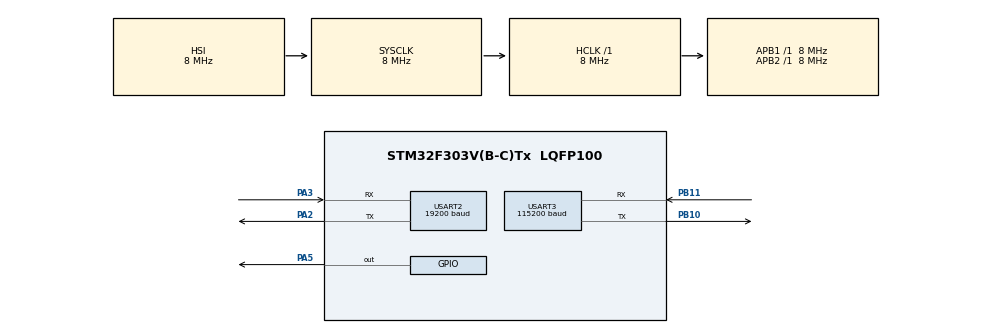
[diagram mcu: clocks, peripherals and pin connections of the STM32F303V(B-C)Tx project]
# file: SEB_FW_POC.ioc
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Dma.Request0=USART2_RX
Dma.USART2_RX.0.Direction=DMA_PERIPH_TO_MEMORY
Dma.USART2_RX.0.Instance=DMA1_Channel6
Dma.USART2_RX.0.MemDataAlignment=DMA_MDATAALIGN_BYTE
Dma.USART2_RX.0.MemInc=DMA_MINC_ENABLE
Dma.USART2_RX.0.Mode=DMA_CIRCULAR
Dma.USART2_RX.0.PeriphDataAlignment=DMA_PDATAALIGN_BYTE
Dma.USART2_RX.0.PeriphInc=DMA_PINC_DISABLE
Dma.USART2_RX.0.Priority=DMA_PRIORITY_LOW
Mcu.Family=STM32F3
Mcu.Name=STM32F303V(B-C)Tx
Mcu.Package=LQFP100
NVIC.DMA1_Channel6_IRQn=true\:0\:0\:false\:false\:true\:false\:true\:true
NVIC.PriorityGroup=NVIC_PRIORITYGROUP_4
NVIC.USART2_IRQn=true\:0\:0\:false\:false\:true\:true\:true\:true
NVIC.USART3_IRQn=true\:0\:0\:false\:false\:true\:true\:true\:true
PA2.Mode=Asynchronous
PA2.Signal=USART2_TX
PA3.Mode=Asynchronous
PA3.Signal=USART2_RX
PA5.Signal=GPIO_Output
PB10.Mode=Asynchronous
PB10.Signal=USART3_TX
PB11.Mode=Asynchronous
PB11.Signal=USART3_RX
ProjectManager.HeapSize=0x200
ProjectManager.StackSize=0x400
ProjectManager.TargetToolchain=STM32CubeIDE
RCC.AHBFreq_Value=8000000
RCC.APB1Freq_Value=8000000
RCC.APB2Freq_Value=8000000
RCC.CortexFreq_Value=8000000
RCC.HSE_VALUE=8000000
RCC.HSI_VALUE=8000000
RCC.LSE_VALUE=32768
RCC.SYSCLKFreq_VALUE=8000000
USART2.BaudRate=19200
USART2.VirtualMode-Asynchronous=VM_ASYNC
USART3.BaudRate=115200
USART3.VirtualMode-Asynchronous=VM_ASYNC
board=custom

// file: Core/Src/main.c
/* USER CODE BEGIN Header */
/**
  ******************************************************************************
  * @file           : main.c
  * @brief          : Main program body
  ******************************************************************************
  * @attention
  *
  * Copyright (c) 2026 STMicroelectronics.
  * All rights reserved.
  *
  * This software is licensed under terms that can be found in the LICENSE file
  * in the root directory of this software component.
  * If no LICENSE file comes with this software, it is provided AS-IS.
  *
  ******************************************************************************
  */
/* USER CODE END Header */
#include "main.h"

/* USER CODE BEGIN Includes */
#include "error_manager.h"
#include "local_uart_manager.h"
#include "logger.h"
#include "packet_manager.h"
#include "timer_manager.h"
/* USER CODE END Includes */

/* USER CODE BEGIN PD */
/* Fixed SEB address until the GPIO Manager reads the DIP switches. */
#define SEB_PM_LOCAL_ADDRESS    1U
/* Fixed board mode until the GPIO Manager reads the mode-select pin. */
#define SEB_LU_MODE             BOARD_MODE_MAIN
/* USER CODE END PD */

UART_HandleTypeDef huart2;
UART_HandleTypeDef huart3;
DMA_HandleTypeDef hdma_usart2_rx;

void SystemClock_Config(void);
static void MX_GPIO_Init(void);
static void MX_DMA_Init(void);
static void MX_USART3_UART_Init(void);
static void MX_USART2_UART_Init(void);

int main(void)
{

  /* MCU Configuration--------------------------------------------------------*/

  /* Reset of all peripherals, Initializes the Flash interface and the Systick. */
  HAL_Init();

  /* Configure the system clock */
  SystemClock_Config();

  /* Initialize all configured peripherals */
  MX_GPIO_Init();
  MX_DMA_Init();
  MX_USART3_UART_Init();
  MX_USART2_UART_Init();
  /* USER CODE BEGIN 2 */
  /* Service init order per architecture section 2.4: Error Manager,
   * Logger, then Timer Manager. */
  (void)ErrorManager_Init();

  if (Logger_Init() != STATUS_OK)
  {
    ErrorManager_Report(SEB_ERROR_SYSTEM_LOGGER_INIT);
  }

  if (TimerManager_Init() != STATUS_OK)
  {
    Error_Handler();
  }

  if (PacketManager_Init(SEB_PM_LOCAL_ADDRESS) != STATUS_OK)
  {
    Error_Handler();
  }

  /* A failed start is retried by the module's own recovery (section 3.2). */
  (void)LocalUARTManager_Init(SEB_LU_MODE, SEB_PM_LOCAL_ADDRESS);

  LOG_INFO("SEB F3 boot");
  /* USER CODE END 2 */

  /* Infinite loop */
  while (1)
  {

    /* USER CODE BEGIN 3 */
    /* Timer state is updated first in every loop iteration (section 2.5). */
    TimerManager_Process();

    /* Local device data is moved before errors and logs are handled (2.5). */
    LocalUARTManager_Run();

    /* Errors reported in this iteration are handled before logging (2.5). */
    ErrorManager_Process();

    /* Logger drains its transmit ring without blocking. */
    Logger_Process();
  }
  /* USER CODE END 3 */
}

void SystemClock_Config(void)
{
  RCC_OscInitTypeDef RCC_OscInitStruct = {0};
  RCC_ClkInitTypeDef RCC_ClkInitStruct = {0};
  RCC_PeriphCLKInitTypeDef PeriphClkInit = {0};

  /** Initializes the RCC Oscillators according to the specified parameters
  * in the RCC_OscInitTypeDef structure.
  */
  RCC_OscInitStruct.OscillatorType = RCC_OSCILLATORTYPE_HSI;
  RCC_OscInitStruct.HSIState = RCC_HSI_ON;
  RCC_OscInitStruct.HSICalibrationValue = RCC_HSICALIBRATION_DEFAULT;
  RCC_OscInitStruct.PLL.PLLState = RCC_PLL_NONE;
  if (HAL_RCC_OscConfig(&RCC_OscInitStruct) != HAL_OK)
  {
    Error_Handler();
  }

  /** Initializes the CPU, AHB and APB buses clocks
  */
  RCC_ClkInitStruct.ClockType = RCC_CLOCKTYPE_HCLK|RCC_CLOCKTYPE_SYSCLK
                              |RCC_CLOCKTYPE_PCLK1|RCC_CLOCKTYPE_PCLK2;
  RCC_ClkInitStruct.SYSCLKSource = RCC_SYSCLKSOURCE_HSI;
  RCC_ClkInitStruct.AHBCLKDivider = RCC_SYSCLK_DIV1;
  RCC_ClkInitStruct.APB1CLKDivider = RCC_HCLK_DIV1;
  RCC_ClkInitStruct.APB2CLKDivider = RCC_HCLK_DIV1;

  if (HAL_RCC_ClockConfig(&RCC_ClkInitStruct, FLASH_LATENCY_0) != HAL_OK)
  {
    Error_Handler();
  }
  PeriphClkInit.PeriphClockSelection = RCC_PERIPHCLK_USART2|RCC_PERIPHCLK_USART3;
  PeriphClkInit.Usart2ClockSelection = RCC_USART2CLKSOURCE_PCLK1;
  PeriphClkInit.Usart3ClockSelection = RCC_USART3CLKSOURCE_PCLK1;
  if (HAL_RCCEx_PeriphCLKConfig(&PeriphClkInit) != HAL_OK)
  {
    Error_Handler();
  }
}

static void MX_USART2_UART_Init(void)
{

  huart2.Instance = USART2;
  huart2.Init.BaudRate = 19200;
  huart2.Init.WordLength = UART_WORDLENGTH_8B;
  huart2.Init.StopBits = UART_STOPBITS_1;
  huart2.Init.Parity = UART_PARITY_NONE;
  huart2.Init.Mode = UART_MODE_TX_RX;
  huart2.Init.HwFlowCtl = UART_HWCONTROL_NONE;
  huart2.Init.OverSampling = UART_OVERSAMPLING_16;
  huart2.Init.OneBitSampling = UART_ONE_BIT_SAMPLE_DISABLE;
  huart2.AdvancedInit.AdvFeatureInit = UART_ADVFEATURE_NO_INIT;
  if (HAL_UART_Init(&huart2) != HAL_OK)
  {
    Error_Handler();
  }

}

static void MX_USART3_UART_Init(void)
{

  huart3.Instance = USART3;
  huart3.Init.BaudRate = 115200;
  huart3.Init.WordLength = UART_WORDLENGTH_8B;
  huart3.Init.StopBits = UART_STOPBITS_1;
  huart3.Init.Parity = UART_PARITY_NONE;
  huart3.Init.Mode = UART_MODE_TX_RX;
  huart3.Init.HwFlowCtl = UART_HWCONTROL_NONE;
  huart3.Init.OverSampling = UART_OVERSAMPLING_16;
  huart3.Init.OneBitSampling = UART_ONE_BIT_SAMPLE_DISABLE;
  huart3.AdvancedInit.AdvFeatureInit = UART_ADVFEATURE_NO_INIT;
  if (HAL_UART_Init(&huart3) != HAL_OK)
  {
    Error_Handler();
  }

}

static void MX_DMA_Init(void)
{

  /* DMA controller clock enable */
  __HAL_RCC_DMA1_CLK_ENABLE();

  /* DMA interrupt init */
  /* DMA1_Channel6_IRQn interrupt configuration */
  HAL_NVIC_SetPriority(DMA1_Channel6_IRQn, 0, 0);
  HAL_NVIC_EnableIRQ(DMA1_Channel6_IRQn);

}

static void MX_GPIO_Init(void)
{
  GPIO_InitTypeDef GPIO_InitStruct = {0};

  /* GPIO Ports Clock Enable */
  __HAL_RCC_GPIOA_CLK_ENABLE();
  __HAL_RCC_GPIOB_CLK_ENABLE();

  /*Configure GPIO pin Output Level */
  HAL_GPIO_WritePin(GPIOA, GPIO_PIN_5, GPIO_PIN_RESET);

  /*Configure GPIO pin : PA5 */
  GPIO_InitStruct.Pin = GPIO_PIN_5;
  GPIO_InitStruct.Mode = GPIO_MODE_OUTPUT_PP;
  GPIO_InitStruct.Pull = GPIO_NOPULL;
  GPIO_InitStruct.Speed = GPIO_SPEED_FREQ_LOW;
  HAL_GPIO_Init(GPIOA, &GPIO_InitStruct);

}

void Error_Handler(void)
{
  __disable_irq();
  while (1)
  {
  }
}
